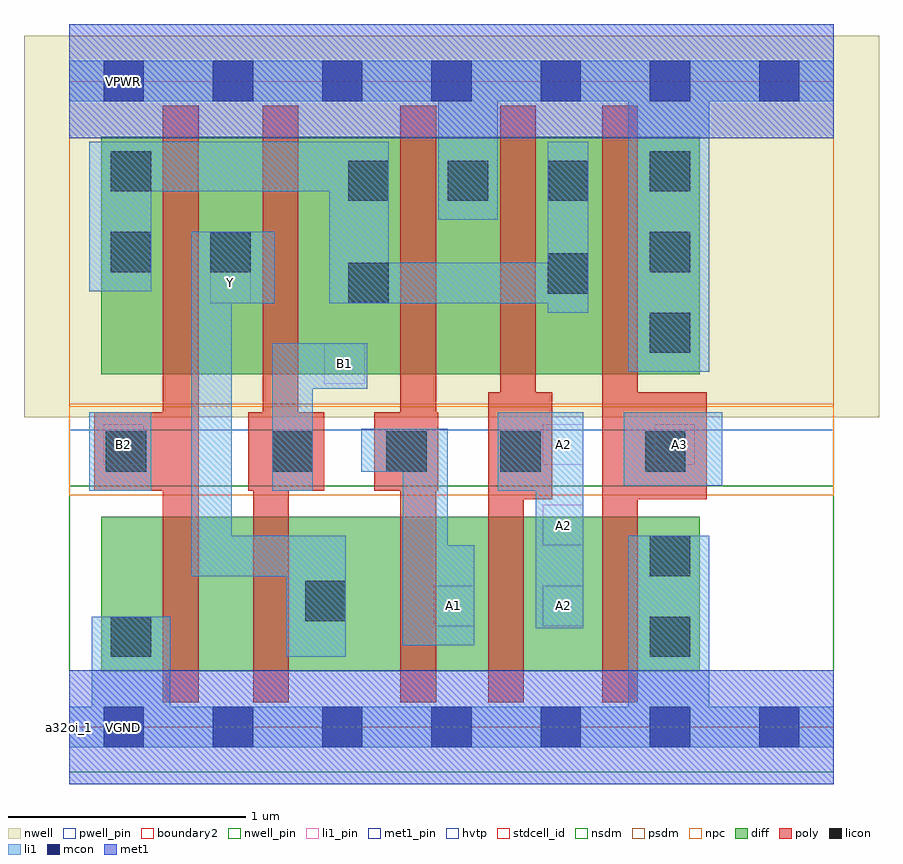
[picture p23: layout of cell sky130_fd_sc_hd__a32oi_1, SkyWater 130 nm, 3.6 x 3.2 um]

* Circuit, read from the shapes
.subckt sky130_fd_sc_hd__a32oi_1 A1 A2 A3 B1 B2 VGND VNB VPB VPWR Y
XM1 n1 B2 VGND VNB sky130_fd_pr__nfet_01v8 w=0.65 l=0.15
XM2 Y B1 n1 VNB sky130_fd_pr__nfet_01v8 w=0.65 l=0.15
XM3 n2 A1 Y VNB sky130_fd_pr__nfet_01v8 w=0.65 l=0.15
XM4 n3 A2 n2 VNB sky130_fd_pr__nfet_01v8 w=0.65 l=0.15
XM5 VGND A3 n3 VNB sky130_fd_pr__nfet_01v8 w=0.65 l=0.15
XM6 Y B2 n4 VPB sky130_fd_pr__pfet_01v8_hvt w=1 l=0.15
XM7 n4 B1 Y VPB sky130_fd_pr__pfet_01v8_hvt w=1 l=0.15
XM8 VPWR A1 n4 VPB sky130_fd_pr__pfet_01v8_hvt w=1 l=0.15
XM9 n4 A2 VPWR VPB sky130_fd_pr__pfet_01v8_hvt w=1 l=0.15
XM10 VPWR A3 n4 VPB sky130_fd_pr__pfet_01v8_hvt w=1 l=0.15
.ends

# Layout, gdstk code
import gdstk
lib = gdstk.Library(unit=1e-6, precision=1e-09)
def R(c, l, rs):  # rectangles x0, y0, x1, y1
    for r in rs: c.add(gdstk.rectangle(r[:2], r[2:], *l))
def A(c, l, x, y, w, h, nx, ny, dx, dy):  # array of equal rectangles
    R(c, l, [(x+i*dx, y+j*dy, x+i*dx+w, y+j*dy+h) for i in range(nx) for j in range(ny)])
def P(c, l, *ps):  # polygons
    for p in ps: c.add(gdstk.Polygon(p, *l))
nwell_pin = (64, 16)
nwell = (64, 20)
diff = (65, 20)
poly = (66, 20)
licon = (66, 44)
li1_pin = (67, 16)
li1 = (67, 20)
mcon = (67, 44)
met1_pin = (68, 16)
met1 = (68, 20)
hvtp = (78, 44)
stdcell_id = (81, 4)
nsdm = (93, 44)
psdm = (94, 20)
npc = (95, 20)
pwell_pin = (122, 16)
boundary2 = (236, 0)

sky130_fd_sc_hd__a32oi_1 = lib.new_cell('sky130_fd_sc_hd__a32oi_1')
R(sky130_fd_sc_hd__a32oi_1, nwell_pin, [(0.145,2.635,0.315,2.805)])
R(sky130_fd_sc_hd__a32oi_1, nwell, [(-0.19,1.305,3.41,2.91)])
R(sky130_fd_sc_hd__a32oi_1, diff, [(0.135,0.235,2.655,0.885), (0.135,1.485,2.655,2.485)])
P(sky130_fd_sc_hd__a32oi_1, poly, [(0.545,2.615),(0.395,2.615),(0.395,1.325),(0.105,1.325),(0.105,0.995),(0.395,0.995),(0.395,0.105),(0.545,0.105)],
  [(1.075,1.325),(0.965,1.325),(0.965,2.615),(0.815,2.615),(0.815,1.325),(0.755,1.325),(0.755,0.995),(0.775,0.995),(0.775,0.105),(0.925,0.105),(0.925,0.995),(1.075,0.995)],
  [(2.685,1.41),(2.395,1.41),(2.395,2.615),(2.245,2.615),(2.245,0.105),(2.395,0.105),(2.395,0.96),(2.685,0.96)],
  [(2.035,1.41),(1.965,1.41),(1.965,2.615),(1.815,2.615),(1.815,1.41),(1.765,1.41),(1.765,0.105),(1.915,0.105),(1.915,0.96),(2.035,0.96)],
  [(1.555,1.325),(1.545,1.325),(1.545,2.615),(1.395,2.615),(1.395,1.325),(1.285,1.325),(1.285,0.995),(1.395,0.995),(1.395,0.105),(1.545,0.105),(1.545,0.995),(1.555,0.995)])
A(sky130_fd_sc_hd__a32oi_1, licon, 0.855, 1.075, 0.17, 0.17, 3, 1, 0.48, 0)
A(sky130_fd_sc_hd__a32oi_1, licon, 2.445, 1.575, 0.17, 0.17, 1, 3, 0, 0.34)
A(sky130_fd_sc_hd__a32oi_1, licon, 1.175, 2.215, 0.17, 0.17, 3, 1, 0.42, 0)
R(sky130_fd_sc_hd__a32oi_1, licon, [(0.175,0.295,0.345,0.465), (2.445,0.295,2.615,0.465), (0.995,0.445,1.165,0.615), (2.445,0.635,2.615,0.805), (0.155,1.075,0.325,1.245), (2.425,1.075,2.595,1.245), (1.175,1.785,1.345,1.955), (2.015,1.825,2.185,1.995), (0.175,1.915,0.345,2.085), (0.595,1.915,0.765,2.085), (0.175,2.255,0.345,2.425)])
A(sky130_fd_sc_hd__a32oi_1, li1_pin, 1.995, 0.425, 0.17, 0.17, 1, 3, 0, 0.34)
R(sky130_fd_sc_hd__a32oi_1, li1_pin, [(1.535,0.425,1.705,0.595), (0.145,1.105,0.315,1.275), (2.465,1.105,2.635,1.275), (1.075,1.445,1.245,1.615), (0.595,1.785,0.765,1.955)])
R(sky130_fd_sc_hd__a32oi_1, li1, [(0.085,0.995,0.345,1.325), (2.335,1.015,2.75,1.325)])
P(sky130_fd_sc_hd__a32oi_1, li1, [(1.165,0.805),(0.685,0.805),(0.685,1.785),(0.865,1.785),(0.865,2.085),(0.515,2.085),(0.515,0.635),(0.915,0.635),(0.915,0.295),(1.165,0.295)],
  [(3.22,0.085),(2.695,0.085),(2.695,0.805),(2.355,0.805),(2.355,0.085),(0.425,0.085),(0.425,0.465),(0.095,0.465),(0.095,0.085),(0,0.085),(0,-0.085),(3.22,-0.085)],
  [(3.22,2.805),(0,2.805),(0,2.635),(1.555,2.635),(1.555,2.135),(1.805,2.135),(1.805,2.635),(2.355,2.635),(2.355,1.495),(2.695,1.495),(2.695,2.635),(3.22,2.635)],
  [(2.185,2.465),(2.015,2.465),(2.015,1.955),(1.345,1.955),(1.345,2.465),(0.085,2.465),(0.085,1.835),(0.345,1.835),(0.345,2.255),(1.095,2.255),(1.095,1.785),(2.015,1.785),(2.015,1.745),(2.185,1.745)],
  [(1.255,1.615),(0.855,1.615),(0.855,0.995),(1.025,0.995),(1.025,1.425),(1.255,1.425)],
  [(2.165,1.325),(1.805,1.325),(1.805,0.995),(1.965,0.995),(1.965,0.415),(2.165,0.415)],
  [(1.705,0.765),(1.595,0.765),(1.595,1.255),(1.23,1.255),(1.23,1.075),(1.405,1.075),(1.405,0.345),(1.705,0.345)])
A(sky130_fd_sc_hd__a32oi_1, mcon, 0.145, -0.085, 0.17, 0.17, 7, 2, 0.46, 2.72)
R(sky130_fd_sc_hd__a32oi_1, met1_pin, [(0.145,-0.085,0.315,0.085), (0.145,2.635,0.315,2.805)])
R(sky130_fd_sc_hd__a32oi_1, hvtp, [(0,1.25,2.76,2.72), (2.76,1.25,3.22,2.72)])
R(sky130_fd_sc_hd__a32oi_1, stdcell_id, [(0,0,3.22,2.72)])
R(sky130_fd_sc_hd__a32oi_1, nsdm, [(0,-0.19,3.22,1.015)])
R(sky130_fd_sc_hd__a32oi_1, psdm, [(0,1.36,3.22,2.91)])
R(sky130_fd_sc_hd__a32oi_1, npc, [(0,0.975,3.22,1.35)])
R(sky130_fd_sc_hd__a32oi_1, pwell_pin, [(0.145,-0.085,0.315,0.085)])
R(sky130_fd_sc_hd__a32oi_1, boundary2, [(0,0,3.22,2.72)])
sky130_fd_sc_hd__a32oi_1.add(gdstk.FlexPath([(0,2.72),(3.22,2.72)], 0.48, ends="flush", simple_path=True, layer=68, datatype=20))  # met1
sky130_fd_sc_hd__a32oi_1.add(gdstk.FlexPath([(0,0),(3.22,0)], 0.48, ends="flush", simple_path=True, layer=68, datatype=20))  # met1
sky130_fd_sc_hd__a32oi_1.add(gdstk.Label('A2', (2.08,0.51), layer=67, texttype=5))
sky130_fd_sc_hd__a32oi_1.add(gdstk.Label('Y', (0.68,1.87), layer=67, texttype=5))
sky130_fd_sc_hd__a32oi_1.add(gdstk.Label('A1', (1.62,0.51), layer=67, texttype=5))
sky130_fd_sc_hd__a32oi_1.add(gdstk.Label('B2', (0.23,1.19), layer=67, texttype=5))
sky130_fd_sc_hd__a32oi_1.add(gdstk.Label('B1', (1.16,1.53), layer=67, texttype=5))
sky130_fd_sc_hd__a32oi_1.add(gdstk.Label('A2', (2.08,0.85), layer=67, texttype=5))
sky130_fd_sc_hd__a32oi_1.add(gdstk.Label('A2', (2.08,1.19), layer=67, texttype=5))
sky130_fd_sc_hd__a32oi_1.add(gdstk.Label('A3', (2.57,1.19), layer=67, texttype=5))
sky130_fd_sc_hd__a32oi_1.add(gdstk.Label('VGND', (0.23,0), layer=68, texttype=5))
sky130_fd_sc_hd__a32oi_1.add(gdstk.Label('VPWR', (0.23,2.72), layer=68, texttype=5))
sky130_fd_sc_hd__a32oi_1.add(gdstk.Label('VPB', (0.23,2.72), layer=64, texttype=5))
sky130_fd_sc_hd__a32oi_1.add(gdstk.Label('VNB', (0.23,0), layer=64, texttype=59))
sky130_fd_sc_hd__a32oi_1.add(gdstk.Label('a32oi_1', (0,0), layer=83, texttype=44))

lib.write_gds('sky130_fd_sc_hd__a32oi_1.gds')
